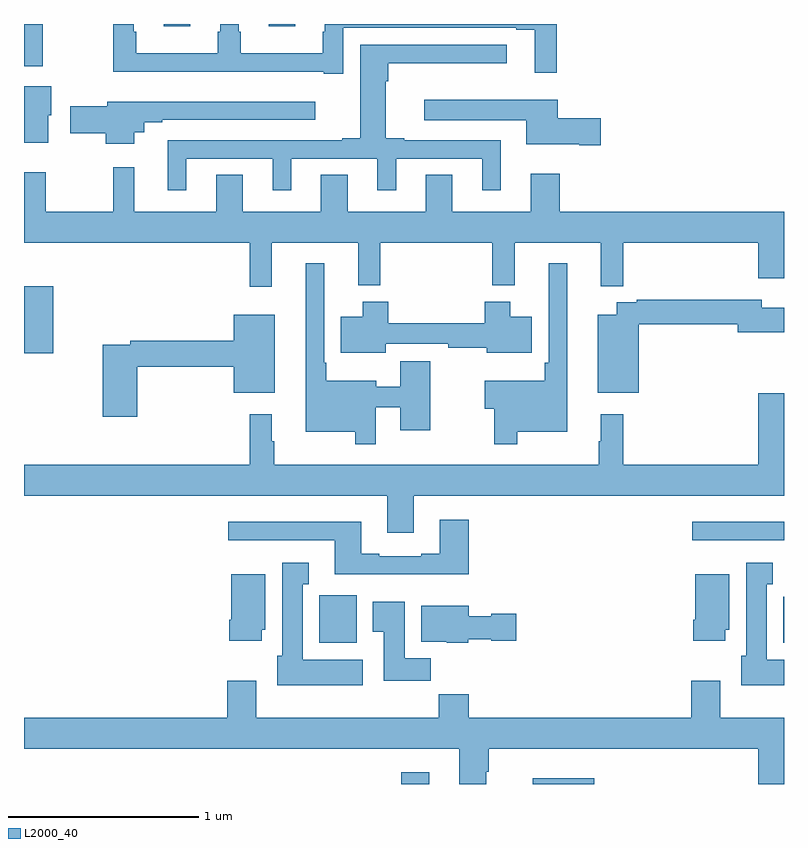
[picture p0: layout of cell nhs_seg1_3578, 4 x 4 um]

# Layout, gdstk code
import gdstk
lib = gdstk.Library(unit=1e-6, precision=1e-09)
def R(c, l, rs):  # rectangles x0, y0, x1, y1
    for r in rs: c.add(gdstk.rectangle(r[:2], r[2:], *l))
def P(c, l, *ps):  # polygons
    for p in ps: c.add(gdstk.Polygon(p, *l))
L2000_40 = (2000, 40)

nhs_seg1_3578 = lib.new_cell('nhs_seg1_3578')
R(nhs_seg1_3578, L2000_40, [(306.986,566.199,307.132,566.26), (307.677,566.199,308.002,566.23), (306.555,566.942,306.751,567.192), (308.996,566.942,309,567.184), (308.517,567.483,309,567.58), (305,568.466,305.153,568.819), (305,569.976,305.098,570.199), (305.735,570.186,305.875,570.199), (306.287,570.186,306.427,570.199)])
P(nhs_seg1_3578, L2000_40, [(306.681,570.18),(307.592,570.18),(307.592,570.168),(307.688,570.168),(307.688,569.943),(307.805,569.943),(307.805,570.199),(306.584,570.199),(306.584,570.158),(306.573,570.158),(306.573,570.046),(306.142,570.046),(306.142,570.158),(306.13,570.158),(306.13,570.199),(306.032,570.199),(306.032,570.158),(306.021,570.158),(306.021,570.046),(305.59,570.046),(305.59,570.158),(305.578,570.158),(305.578,570.199),(305.469,570.199),(305.469,569.948),(306.578,569.948),(306.578,569.937),(306.681,569.937)],
  [(305.854,569.49),(306.308,569.49),(306.308,569.325),(306.406,569.325),(306.406,569.49),(306.86,569.49),(306.86,569.325),(306.958,569.325),(306.958,569.49),(307.412,569.49),(307.412,569.325),(307.51,569.325),(307.51,569.586),(307,569.586),(307,569.599),(306.904,569.599),(306.904,569.897),(306.917,569.897),(306.917,569.993),(307.54,569.993),(307.54,570.09),(306.77,570.09),(306.77,569.599),(306.674,569.599),(306.674,569.586),(305.756,569.586),(305.756,569.325),(305.854,569.325)],
  [(305.128,569.718),(305.143,569.718),(305.143,569.872),(305,569.872),(305,569.573),(305.128,569.573)],
  [(308.035,569.702),(307.81,569.702),(307.81,569.8),(307.107,569.8),(307.107,569.693),(307.643,569.693),(307.643,569.567),(307.922,569.567),(307.922,569.56),(308.035,569.56)],
  [(305.581,569.63),(305.632,569.63),(305.632,569.682),(305.728,569.682),(305.728,569.694),(306.532,569.694),(306.532,569.791),(305.438,569.791),(305.438,569.765),(305.244,569.765),(305.244,569.623),(305.431,569.623),(305.431,569.57),(305.581,569.57)],
  [(306.305,569.048),(306.758,569.048),(306.758,568.823),(306.875,568.823),(306.875,569.048),(307.465,569.048),(307.465,568.823),(307.583,568.823),(307.583,569.048),(308.036,569.048),(308.036,568.819),(308.153,568.819),(308.153,569.048),(308.864,569.048),(308.864,568.86),(309,568.86),(309,569.212),(307.82,569.212),(307.82,569.41),(307.667,569.41),(307.667,569.212),(307.255,569.212),(307.255,569.405),(307.115,569.405),(307.115,569.212),(306.703,569.212),(306.703,569.405),(306.563,569.405),(306.563,569.212),(306.151,569.212),(306.151,569.405),(306.011,569.405),(306.011,569.212),(305.579,569.212),(305.579,569.446),(305.469,569.446),(305.469,569.212),(305.115,569.212),(305.115,569.419),(305,569.419),(305,569.048),(306.187,569.048),(306.187,568.815),(306.305,568.815)],
  [(307.597,568.052),(307.858,568.052),(307.858,568.939),(307.761,568.939),(307.761,568.417),(307.741,568.417),(307.741,568.321),(307.424,568.321),(307.424,568.174),(307.476,568.174),(307.476,567.987),(307.597,567.987)],
  [(306.852,568.182),(306.98,568.182),(306.98,568.062),(307.138,568.062),(307.138,568.423),(306.98,568.423),(306.98,568.291),(306.853,568.291),(306.853,568.321),(306.592,568.321),(306.592,568.417),(306.579,568.417),(306.579,568.939),(306.482,568.939),(306.482,568.052),(306.744,568.052),(306.744,567.987),(306.852,567.987)],
  [(308.236,568.618),(308.756,568.618),(308.756,568.576),(309,568.576),(309,568.705),(308.884,568.705),(308.884,568.747),(308.224,568.747),(308.224,568.734),(308.12,568.734),(308.12,568.669),(308.021,568.669),(308.021,568.259),(308.236,568.259)],
  [(306.904,568.515),(307.234,568.515),(307.234,568.495),(307.436,568.495),(307.436,568.469),(307.672,568.469),(307.672,568.657),(307.558,568.657),(307.558,568.738),(307.424,568.738),(307.424,568.624),(306.917,568.624),(306.917,568.738),(306.782,568.738),(306.782,568.657),(306.668,568.657),(306.668,568.469),(306.904,568.469)],
  [(305.597,568.396),(306.104,568.396),(306.104,568.259),(306.319,568.259),(306.319,568.669),(306.104,568.669),(306.104,568.532),(305.56,568.532),(305.56,568.512),(305.414,568.512),(305.414,568.131),(305.597,568.131)],
  [(307.051,567.716),(309,567.716),(309,568.255),(308.864,568.255),(308.864,567.88),(308.153,567.88),(308.153,568.144),(308.036,568.144),(308.036,568.004),(308.025,568.004),(308.025,567.88),(306.316,567.88),(306.316,568.004),(306.304,568.004),(306.304,568.144),(306.187,568.144),(306.187,567.88),(305,567.88),(305,567.716),(306.911,567.716),(306.911,567.522),(307.051,567.522)],
  [(307.34,567.589),(307.187,567.589),(307.187,567.412),(307.091,567.412),(307.091,567.399),(306.871,567.399),(306.871,567.412),(306.775,567.412),(306.775,567.58),(306.075,567.58),(306.075,567.483),(306.635,567.483),(306.635,567.302),(307.34,567.302)],
  [(306.784,566.854),(306.466,566.854),(306.466,567.251),(306.499,567.251),(306.499,567.364),(306.359,567.364),(306.359,566.874),(306.332,566.874),(306.332,566.72),(306.784,566.72)],
  [(309,566.854),(308.908,566.854),(308.908,567.251),(308.941,567.251),(308.941,567.364),(308.801,567.364),(308.801,566.874),(308.774,566.874),(308.774,566.72),(309,566.72)],
  [(306.25,567.012),(306.271,567.012),(306.271,567.304),(306.092,567.304),(306.092,567.064),(306.08,567.064),(306.08,566.952),(306.25,566.952)],
  [(308.692,567.012),(308.713,567.012),(308.713,567.304),(308.534,567.304),(308.534,567.064),(308.522,567.064),(308.522,566.952),(308.692,566.952)],
  [(307.142,566.86),(307.003,566.86),(307.003,567.157),(306.836,567.157),(306.836,567.001),(306.893,567.001),(306.893,566.742),(307.142,566.742)],
  [(307.338,566.96),(307.458,566.96),(307.458,566.953),(307.591,566.953),(307.591,567.095),(307.458,567.095),(307.458,567.082),(307.342,567.082),(307.342,567.136),(307.091,567.136),(307.091,566.948),(307.224,566.948),(307.224,566.942),(307.338,566.942)],
  [(307.432,566.264),(307.445,566.264),(307.445,566.384),(308.864,566.384),(308.864,566.199),(309,566.199),(309,566.548),(308.665,566.548),(308.665,566.743),(308.513,566.743),(308.513,566.548),(307.34,566.548),(307.34,566.672),(307.183,566.672),(307.183,566.548),(306.223,566.548),(306.223,566.743),(306.071,566.743),(306.071,566.548),(305,566.548),(305,566.384),(307.292,566.384),(307.292,566.199),(307.432,566.199)])

lib.write_gds('nhs_seg1_3578.gds')
